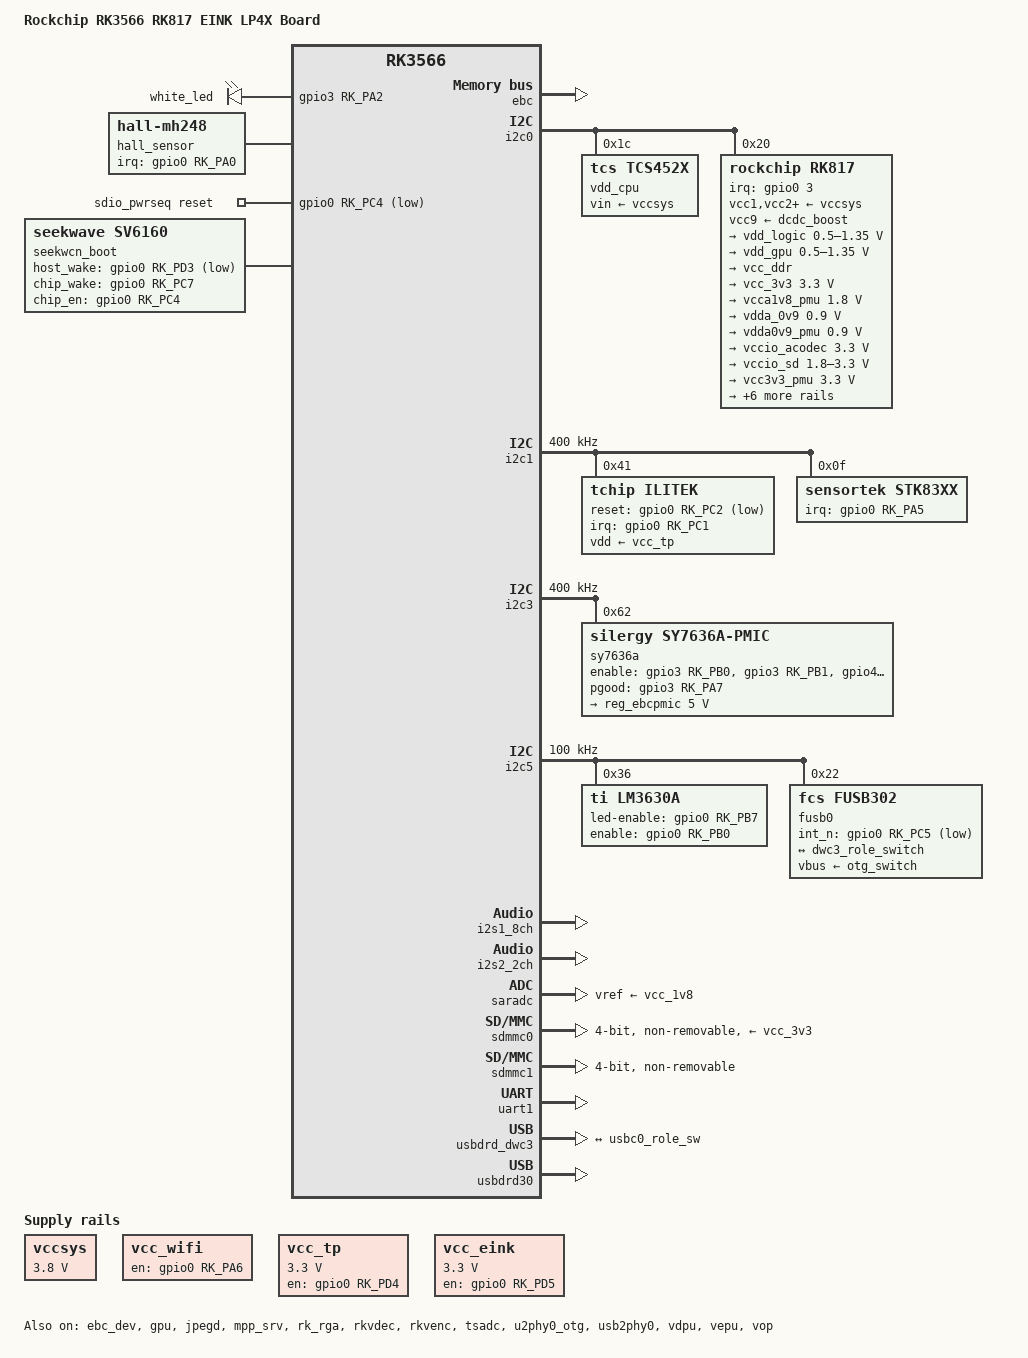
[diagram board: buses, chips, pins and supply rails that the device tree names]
// SPDX-License-Identifier: (GPL-2.0+ OR MIT)
/*
 * Copyright (c) 2020 Rockchip Electronics Co., Ltd.
 *
 */

/dts-v1/;

#include <dt-bindings/gpio/gpio.h>
#include <dt-bindings/pinctrl/rockchip.h>
#include <dt-bindings/input/rk-input.h>
#include <dt-bindings/sensor-dev.h>
#include <dt-bindings/display/drm_mipi_dsi.h>
#include "rk3566.dtsi"
#include "rk3568-linux.dtsi"
#include "rk3566-eink.dtsi"

/ {
	model = "Rockchip RK3566 RK817 EINK LP4X Board";
	compatible = "rockchip,rk3566-rk817-eink", "rockchip,rk3566";

	aliases {
		mmc0 = &sdmmc0;
		mmc1 = &sdmmc1;
		mmc2 = &sdhci;
	};

	charge-animation {
		compatible = "rockchip,uboot-charge";
		rockchip,uboot-charge-on = <1>;
		rockchip,android-charge-on = <0>;
		rockchip,uboot-low-power-voltage = <3350>;
		rockchip,screen-on-voltage = <3400>;
		rockchip,auto-wakeup-interval = <60>;
		status = "okay";
	};

	/* PB8020 has no side keys, and all four pins the 5084 used for them are
	 * reassigned on this board: PA5 -> gsensor irq, PD4 -> vcc_tp enable,
	 * PD5 -> vcc_eink enable, PD6 unused. Stock android keeps this
	 * node disabled too (single BACK key on PB5, also disabled). */
	gpio_keys: gpio-keys {
		status = "disabled";
		compatible = "gpio-keys";
		pinctrl-names = "default";
		pinctrl-0 = <&gpio_keys_gpio>;

		KEY_F1 {
			label = "GPIO Key F1";
			debounce-interval = <10>;
			interrupt-parent = <&gpio0>;
			interrupts = <RK_PA5 IRQ_TYPE_LEVEL_LOW>;
			linux,input-type = <EV_KEY>;
			linux,code = <KEY_F1>;
			gpios=<&gpio0 RK_PA5 GPIO_ACTIVE_LOW>;
			wakeup-source;
		};

		HOME {
			label = "GPIO Key Home";
			debounce-interval = <10>;
			interrupt-parent = <&gpio0>;
			interrupts = <RK_PD4 IRQ_TYPE_LEVEL_LOW>;
			linux,input-type = <EV_KEY>;
			linux,code = <KEY_HOME>;
			gpios=<&gpio0 RK_PD4 GPIO_ACTIVE_LOW>;
			wakeup-source;
		};
	
		UP {
			label = "GPIO Key Up";
			debounce-interval = <10>;
			interrupt-parent = <&gpio0>;
			interrupts = <RK_PD5 IRQ_TYPE_LEVEL_LOW>;
			linux,input-type = <EV_KEY>;
			linux,code = <KEY_UP>;
			gpios=<&gpio0 RK_PD5 GPIO_ACTIVE_LOW>;
			wakeup-source;
		};
	
		DOWN {
			label = "GPIO Key Down";
			debounce-interval = <10>;
			interrupt-parent = <&gpio0>;
			interrupts = <RK_PD6 IRQ_TYPE_LEVEL_LOW>;
			linux,input-type = <EV_KEY>;
			linux,code = <KEY_DOWN>;
			gpios=<&gpio0 RK_PD6 GPIO_ACTIVE_LOW>;
			wakeup-source;
		};

	};

	hdmi_sound: hdmi-sound {
		compatible = "simple-audio-card";
		simple-audio-card,format = "i2s";
		simple-audio-card,mclk-fs = <128>;
		simple-audio-card,name = "rockchip,hdmi";
		status = "disabled";

		simple-audio-card,cpu {
				sound-dai = <&i2s0_8ch>;
		};
		simple-audio-card,codec {
				sound-dai = <&hdmi>;
		};
	};

	leds: gpio-leds {
		status = "okay";
		compatible = "gpio-leds";
		pinctrl-names = "default";
		pinctrl-0 =<&leds_gpio>;

		led@1 {
			gpios = <&gpio3 RK_PA2 GPIO_ACTIVE_HIGH>;
			label = "white_led";
			default-state = "on";
			retain-state-suspended;
		};
	};

	hall_sensor: hall-mh248 {
		compatible = "hall-mh248";
		pinctrl-names = "default";
		pinctrl-0 = <&mh248_irq_gpio>;
		irq-gpio = <&gpio0 RK_PA0 IRQ_TYPE_EDGE_BOTH>;
		hall-active = <1>;
		status = "okay";
	};

	hwver: hwver {
		io-channels = <&saradc 1>;
		io-channel-names = "hwver";
		/* rockchip,version-map = <version min_raw max_raw>, ...; */
		rockchip,version-map = <10 0 100>, <13 260 360>;
		rockchip,default-version = <0>;
		rockchip,sample-count = <5>;
	};

	vccsys: vccsys {
		compatible = "regulator-fixed";
		regulator-name = "vcc3v8_sys";
		regulator-always-on;
		regulator-boot-on;
		regulator-min-microvolt = <3800000>;
		regulator-max-microvolt = <3800000>;
	};

	vcc_wifi: vcc-wifi {
	status = "okay";
        compatible = "regulator-fixed";
        enable-active-high;
        gpio = <&gpio0 RK_PA6 GPIO_ACTIVE_HIGH>;
        pinctrl-names = "default";
        pinctrl-0 = <&wifi_poweren_gpio>;
        regulator-name = "vcc_wifi";
        regulator-boot-on;
        regulator-always-on;
    };
	
	vcc_tp: vcc-tp-regulator {
		status = "okay";
		compatible = "regulator-fixed";
		enable-active-high;
		gpio = <&gpio0 RK_PD4 GPIO_ACTIVE_HIGH>;	/* factory: gpio0 PD4 */
		pinctrl-names = "default";
		pinctrl-0 = <&vcc_tp_en>;
		regulator-name = "vcc_tp";
		regulator-boot-on;
		startup-delay-us = <10000>;
		regulator-min-microvolt = <3300000>;
		regulator-max-microvolt = <3300000>;
	};

	vcc_eink: vcc-eink-regulator {
		status = "okay";
		compatible = "regulator-fixed";
		enable-active-high;
		gpio = <&gpio0 RK_PD5 GPIO_ACTIVE_HIGH>;	/* factory: gpio0 PD5 */
		pinctrl-names = "default";
		pinctrl-0 = <&vcc_eink_en>;
		regulator-name = "vcc_eink";
		regulator-boot-on;
		regulator-always-on;
		regulator-min-microvolt = <3300000>;
		regulator-max-microvolt = <3300000>;
	};

	rk817-sound {
		compatible = "simple-audio-card";
		simple-audio-card,format = "i2s";
		simple-audio-card,name = "rockchip,rk817-codec";
		simple-audio-card,mclk-fs = <256>;

		simple-audio-card,cpu {
			sound-dai = <&i2s1_8ch>;
		};
		simple-audio-card,codec {
			sound-dai = <&rk817_codec>;
		};
	};

	dummy_codec: dummy-codec { 
		status = "okay";
		compatible = "rockchip,dummy-codec";
		#sound-dai-cells = <0>;
	};

	bt-sound {
		status = "okay";
		compatible = "simple-audio-card";
		simple-audio-card,format = "dsp_b";
		simple-audio-card,bitclock-inversion = <1>;
		simple-audio-card,mclk-fs = <256>;
		simple-audio-card,name = "rockchip,bt";
		simple-audio-card,cpu {
				sound-dai = <&i2s2_2ch>;
		};
		simple-audio-card,codec {
				sound-dai = <&bt_sco>;
		};
	};

	bt_sco: bt-sco {
		compatible = "delta,dfbmcs320";
		#sound-dai-cells = <0>;
		status = "okay";
	};

	sdio_pwrseq: sdio-pwrseq {
		status = "okay";
		compatible = "mmc-pwrseq-simple";
		clocks = <&rk817 1>;
		clock-names = "ext_clock";
		pinctrl-names = "default";
		pinctrl-0 = <&wifi_enable_h>;

		/*
		 * On the module itself this is one of these (depending
		 * on the actual card populated):
		 * - SDIO_RESET_L_WL_REG_ON
		 * - PDN (power down when low)
		 */
		post-power-on-delay-ms = <10>;
		reset-gpios = <&gpio0 RK_PC4 GPIO_ACTIVE_LOW>;
	};
    seekwcn_boot: wireless-bluetooth {
        status = "okay";
	compatible = "seekwave,sv6160";
        pinctrl-names = "default";
        pinctrl-0 = <&wifi_bt_gpio>;
        dma_type = <1>;/*1:ADMA,2:SDMA*/
	seekwave_nv_name="sv6160.nvbin";

        gpio_host_wake = <&gpio0 RK_PD3 GPIO_ACTIVE_LOW>; /* CP2AP */
        gpio_chip_wake = <&gpio0 RK_PC7 GPIO_ACTIVE_HIGH>; /* AP2CP */
        gpio_chip_en = <&gpio0 RK_PC4 GPIO_ACTIVE_HIGH>; /* CHIP EN */
    };

};

/* U-Boot merges bootargs_ext into /chosen/bootargs. Pin USB audio to card 2 so
 * a device attached at boot cannot take the loopback's slot. */
&chosen {
	bootargs_ext = "snd_usb_audio.index=2";
};

&reserved_memory {
	logo_reserved: logo@10000000 {
		reg = <0x0 0x12900000 0x0 0x400000>;
	};

	linux,cma {
		compatible = "shared-dma-pool";
		inactive;
		reusable;
		reg = <0x0 0x20000000 0x0 0x08000000>;
		linux,cma-default;
	};
};

&ebc {
	/* clock rate 1000M/n, (n=1~32) */
	assigned-clocks = <&cru CPLL_333M>, <&cru DCLK_EBC>;
	assigned-clock-rates = <40000000>, <40000000>;	/* B082A0x needs panel,sdck = 40MHz */
	status = "okay";
};

&ebc_dev {
	compatible = "rockchip,ebc-linux";
	logo-region = <&logo_reserved>;
	pmic = <&sy7636a>;
	status = "okay";

	/* B082A02/A03 8.2" EPD, 1920x1440, landscape native */
	panel,width = <1920>;
	panel,height = <1440>;
	/* vir_width must be a multiple of 16: the waveform packs 16 pixels per
	 * 32-bit word, so the stride has to be 16-aligned. 1920 already is. */
	panel,vir_width = <1920>;
	panel,vir_height = <1440>;
	panel,sdck = <40000000>;
	panel,lsl = <15>;
	panel,lbl = <15>;
	panel,ldl = <240>;
	panel,lel = <54>;
	panel,gdck-sta = <48>;
	panel,lgonl = <252>;
	panel,fsl = <1>;
	panel,fbl = <4>;
	panel,fdl = <1440>;
	panel,fel = <10>;
	panel,mirror = <0>;
	panel,panel_16bit = <1>;
	panel,panel_color = <0>;
	panel,width-mm = <166>;
	panel,height-mm = <124>;
	panel,soc_start_y = <0>;
	panel,soc_icon_w = <0>;
	panel,soc_icon_h = <0>;
};

&cpu0 {
	cpu-supply = <&vdd_cpu>;
};

&csi2_dphy_hw {
	status = "disabled";
};

&csi2_dphy0 {
	status = "disabled";

	ports {
		#address-cells = <1>;
		#size-cells = <0>;
		port@0 {
			reg = <0>;
			#address-cells = <1>;
			#size-cells = <0>;

			mipi_in_ucam0: endpoint@0 {
				reg = <0>;
				data-lanes = <1 2>;
			};
		};
		port@1 {
			reg = <1>;
			#address-cells = <1>;
			#size-cells = <0>;

			csidphy0_out: endpoint@0 {
				reg = <0>;
				remote-endpoint = <&isp0_in>;
			};
		};
	};
};

&gpu {
	mali-supply = <&vdd_gpu>;
	status = "okay";
};

&hdmi {
	status = "disabled";
};

&hdmi_in_vp0 {
	status = "disabled";
};

&hdmi_in_vp1 {
	status = "disabled";
};

&hdmi_sound {
	status = "disabled";
};

&thermal_zones {
    ebcpmic_thermal: ebcpmic-thermal { 
        polling-delay = <0>;
        polling-delay-passive = <0>;
        thermal-sensors = <&sy7636a>;

        trips {
            sy7636a_dummy_trip: sy7636a-dummy-trip {
                temperature = <100000>;
                hysteresis = <0>;
                type = "hot";
            };
        };
    };
};

&i2c0 {
	status = "okay";

	vdd_cpu: tcs4525@1c {
		status = "okay";
		compatible = "tcs,tcs452x";
		reg = <0x1c>;
		vin-supply = <&vccsys>;
		regulator-compatible = "fan53555-reg";
		regulator-name = "vdd_cpu";
		regulator-min-microvolt = <712500>;
		regulator-max-microvolt = <1390000>;
		regulator-init-microvolt = <900000>;
		regulator-ramp-delay = <2300>;
		fcs,suspend-voltage-selector = <0>;
		regulator-initial-mode = <0x2>;
		regulator-boot-on;
		regulator-always-on;
		regulator-state-mem {
			regulator-on-in-suspend;
			regulator-suspend-microvolt = <1100000>;
			regulator-changeable-in-suspend;
		};
	};

	rk817: pmic@20 {
		compatible = "rockchip,rk817";
		reg = <0x20>;
		interrupt-parent = <&gpio0>;
		interrupts = <3 IRQ_TYPE_LEVEL_LOW>;

		pinctrl-names = "default";
		pinctrl-0 = <&pmic_int>;
		rockchip,system-power-controller;
		wakeup-source;
		#clock-cells = <1>;
		clock-output-names = "rk808-clkout1", "rk808-clkout2";
		/* 1: rst regs (default in codes), 0: rst the pmic */
		pmic-reset-func = <0>;
		/* not save the PMIC_POWER_EN register in uboot */
		not-save-power-en = <1>;
		long-press-off-time-sec = <10>;
		long-press-restart = <0>;
		vcc1-supply = <&vccsys>;
		vcc2-supply = <&vccsys>;
		vcc3-supply = <&vccsys>;
		vcc4-supply = <&vccsys>;
		vcc5-supply = <&vccsys>;
		vcc6-supply = <&vccsys>;
		vcc7-supply = <&vccsys>;
		vcc8-supply = <&vccsys>;
		vcc9-supply = <&dcdc_boost>;

		pwrkey {
			status = "okay";
		};

		pinctrl_rk8xx: pinctrl_rk8xx {
			gpio-controller;
			#gpio-cells = <2>;

			rk817_slppin_null: rk817_slppin_null {
				pins = "gpio_slp";
				function = "pin_fun0";
			};

			rk817_slppin_slp: rk817_slppin_slp {
				pins = "gpio_slp";
				function = "pin_fun1";
			};

			rk817_slppin_pwrdn: rk817_slppin_pwrdn {
				pins = "gpio_slp";
				function = "pin_fun2";
			};

			rk817_slppin_rst: rk817_slppin_rst {
				pins = "gpio_slp";
				function = "pin_fun3";
			};
		};

		regulators {
			vdd_logic: DCDC_REG1 {
				regulator-always-on;
				regulator-boot-on;
				regulator-min-microvolt = <500000>;
				regulator-max-microvolt = <1350000>;
				regulator-init-microvolt = <900000>;
				regulator-ramp-delay = <6001>;
				regulator-initial-mode = <0x2>;
				regulator-name = "vdd_logic";
				regulator-state-mem {
					regulator-off-in-suspend;
					regulator-suspend-microvolt = <900000>;
					regulator-changeable-in-suspend;
				};
			};

			vdd_gpu: DCDC_REG2 {
				regulator-always-on;
				regulator-boot-on;
				regulator-min-microvolt = <500000>;
				regulator-max-microvolt = <1350000>;
				regulator-init-microvolt = <900000>;
				regulator-ramp-delay = <6001>;
				regulator-initial-mode = <0x2>;
				regulator-name = "vdd_gpu";
					regulator-state-mem {
					regulator-off-in-suspend;
					regulator-changeable-in-suspend;
				};
			};

			vcc_ddr: DCDC_REG3 {
				regulator-always-on;
				regulator-boot-on;
				regulator-initial-mode = <0x2>;
				regulator-name = "vcc_ddr";
				regulator-state-mem {
					regulator-on-in-suspend;
				};
			};

			vcc_3v3: DCDC_REG4 {
				regulator-always-on;
				regulator-boot-on;
				regulator-min-microvolt = <3300000>;
				regulator-max-microvolt = <3300000>;
				regulator-initial-mode = <0x2>;
				regulator-name = "vcc_3v3";
				regulator-state-mem {
					regulator-off-in-suspend;
					regulator-changeable-in-suspend;
				};
			};

			vcca1v8_pmu: LDO_REG1 {
				regulator-always-on;
				regulator-boot-on;
				regulator-min-microvolt = <1800000>;
				regulator-max-microvolt = <1800000>;
				regulator-name = "vcca1v8_pmu";
				regulator-state-mem {
					regulator-on-in-suspend;
					regulator-suspend-microvolt = <1800000>;
					regulator-changeable-in-suspend;
				};
			};

			vdda_0v9: LDO_REG2 {
				regulator-min-microvolt = <900000>;
				regulator-max-microvolt = <900000>;
				regulator-name = "vdda_0v9";
				regulator-state-mem {
					regulator-off-in-suspend;
					regulator-changeable-in-suspend;
				};
			};

			vdda0v9_pmu: LDO_REG3 {
				regulator-always-on;
				regulator-boot-on;
				regulator-min-microvolt = <900000>;
				regulator-max-microvolt = <900000>;
				regulator-name = "vdda0v9_pmu";
				regulator-state-mem {
					regulator-on-in-suspend;
					regulator-suspend-microvolt = <900000>;
					regulator-changeable-in-suspend;
				};
			};

			vccio_acodec: LDO_REG4 {
				regulator-always-on;
				regulator-boot-on;
				regulator-min-microvolt = <3300000>;
				regulator-max-microvolt = <3300000>;
				regulator-name = "vccio_acodec";
				regulator-state-mem {
					regulator-off-in-suspend;
					regulator-changeable-in-suspend;
				};
			};

			vccio_sd: LDO_REG5 {
				regulator-always-on;
				regulator-boot-on;
				regulator-min-microvolt = <1800000>;
				regulator-max-microvolt = <3300000>;
				regulator-name = "vccio_sd";
				regulator-state-mem {
					regulator-off-in-suspend;
					regulator-changeable-in-suspend;
				};
			};

			vcc3v3_pmu: LDO_REG6 {
				regulator-always-on;
				regulator-boot-on;
				regulator-min-microvolt = <3300000>;
				regulator-max-microvolt = <3300000>;
				regulator-name = "vcc3v3_pmu";
				regulator-state-mem {
					regulator-on-in-suspend;
					regulator-suspend-microvolt = <3000000>;
					regulator-changeable-in-suspend;
				};
			};

			vcc_1v8: LDO_REG7 {
				regulator-always-on;
				regulator-boot-on;
				regulator-min-microvolt = <1800000>;
				regulator-max-microvolt = <1800000>;
				regulator-name = "vcc_1v8";
				regulator-state-mem {
					regulator-off-in-suspend;
					regulator-changeable-in-suspend;
				};
			};

			vcc_1v8_dvp: LDO_REG8 {
                regulator-min-microvolt = <1800000>;
                regulator-max-microvolt = <1800000>;
                regulator-name = "vcc_1v8_dvp";
                regulator-state-mem {
					regulator-off-in-suspend;
                    regulator-changeable-in-suspend;
                    regulator-suspend-microvolt = <1800000>;
                };
            };

			sleep_sta_ctl: LDO_REG9 {
				regulator-name = "sleep_sta_ctl";
				regulator-state-mem {
					regulator-on-in-suspend;
					regulator-suspend-microvolt = <3300000>;
					regulator-changeable-in-suspend;
				};
			};

			dcdc_boost: BOOST {
				regulator-always-on;
				regulator-boot-on;
				regulator-min-microvolt = <4700000>;
				regulator-max-microvolt = <5400000>;
				regulator-name = "boost";
				regulator-state-mem {
					regulator-off-in-suspend;
					regulator-changeable-in-suspend;
				};
			};

			otg_switch: OTG_SWITCH {
				regulator-name = "otg_switch";
				regulator-state-mem {
					regulator-off-in-suspend;
					regulator-changeable-in-suspend;
				};
			};
		};

		vbus_typec: vbus-typec-regulator {
			compatible = "regulator-fixed";
			regulator-name = "vbus_typec";
			vin-supply = <&otg_switch>;
		};
		
		battery {
			status = "okay";
			compatible = "rk817,battery";
			/* PB8020 pack, from stock android dtb */
			ocv_table = <3400 3661 3689 3715 3741 3758 3772
				     	3785 3800 3818 3840 3869 3917 3959
				     	3997 4048 4096 4148 4202 4259 4328>;
			design_capacity = <2914>;
			design_qmax = <3205>;
			bat_res = <65>;
			sleep_enter_current = <150>;
			sleep_exit_current = <180>;
			sleep_filter_current = <100>;
			power_off_thresd = <3450>;
			zero_algorithm_vol = <3250>;
			max_soc_offset = <60>;
			monitor_sec = <5>;
			sample_res = <10>;
			virtual_power = <0>;
			low_power_sleep = <1>;

			/*Utility  battery ntc -30 ~ 99 */
			ntc_degree_from = <1 11>;
			ntc_degree_protect_low = <0 0>;
			ntc_degree_protect_high = <45>;
			ntc_table = <44506 42506 40600 38791 37073 35442
						33892 32420 31020 29689 28423 27219
						26076 24988 23951 22963 22021 21123
						20267 19450 18670 17926 17214 16534
						15886 15266 14674 14108 13566 13049
						12554 12081 11628 11195 10780 10382
						10000 9634  9284  8947  8624  8315
						8018  7734  7461  7199  6948  6707
						6475  6253  6039  5834  5636  5445
						5262  5086  4917  4754  4597  4446
						4301  4161  4026  3896  3771  3651
						3535  3423  3315  3211  3111  3014
						2922  2834  2748  2666  2586  2509>;
				
		};

		charger {
			compatible = "rk817,charger";
			/* PB8020 charge profile, from stock android dtb. Android says
			 * max_chrg_voltage 4330, which the driver truncates to the
			 * 4300mV register step - written out as 4300 here. */
			min_input_voltage = <4300>;
			max_input_current = <3000>;
			max_chrg_current = <3000>;
			max_chrg_voltage = <4300>;
			chrg_term_mode = <0>;
			chrg_finish_cur = <200>;
			fb_temperature = <95>;
			virtual_power = <0>;
			dc_det_adc = <0>;
			extcon = <&usb2phy0>;
			gate_function_disable = <1>;

		};

		rk817_codec: codec {
			#sound-dai-cells = <0>;
			compatible = "rockchip,rk817-codec";
			clocks = <&cru I2S1_MCLKOUT>;
			clock-names = "mclk";
			assigned-clocks = <&cru I2S1_MCLKOUT>, <&cru I2S1_MCLK_TX_IOE>;
			assigned-clock-rates = <12288000>;
			assigned-clock-parents = <&cru I2S1_MCLKOUT_TX>, <&cru I2S1_MCLKOUT_TX>;
			pinctrl-names = "default";
			pinctrl-0 = <&i2s1m0_mclk>, <&hp_gpio>;
			hp-volume = <46>;
			spk-volume = <46>;
			spk-mute-delay-ms = <500>;
			out-l2spk-r2hp;
			hp-ctl-gpios = <&gpio3 RK_PC3 GPIO_ACTIVE_HIGH>;
			status = "okay";
		};
	};
};

&i2c1 {
	status = "okay";
    clock-frequency = <400000>;

	/* PB8020 uses an Ilitek ILI2501 controller with USI pen support,
	 * same driver and wiring as PB1030 (reset PC2, irq PC1). */
	ilitek@41 {
		status = "okay";
		compatible = "tchip,ilitek";
		reg = <0x41>;
		interrupt-parent = <&gpio0>;
		interrupts = <RK_PC1 IRQ_TYPE_LEVEL_LOW>;
		vdd-supply = <&vcc_tp>;
		pinctrl-names = "default";
		pinctrl-0 = <&tp_gpio>;
		ilitek,reset-gpio = <&gpio0 RK_PC2 GPIO_ACTIVE_LOW>;
		ilitek,irq-gpio = <&gpio0 RK_PC1 IRQ_TYPE_LEVEL_LOW>;
		ilitek,vbus = "vcc_i2c";
		ilitek,vdd = "vdd";
		ilitek,name = "ilitek_i2c";
		ilitek,lcm-resolution = <1920 1440>;
	};

	stk83xx: gsensor@f {
		status = "okay";
		compatible = "sensortek,stk83xx";
		reg = <0xf>;
		pinctrl-names = "default";
		pinctrl-0 = <&gsensor_irq_gpio>;
		stk83xx,irq-gpio = <&gpio0 RK_PA5 IRQ_TYPE_LEVEL_LOW>;
		irq_enable = <0>;
		poll_delay_ms = <33>;
		type = <SENSOR_TYPE_ACCEL>;
		power-off-in-suspend = <0>;
		/*
		 * layout is not read by the PB stk83xx driver (only the android
		 * gs_stk83xx one uses it) - it is kept for consistency with the
		 * other boards. Screen rotation is measured correct with no axis
		 * fixup here plus gyro placement 0 in hwlib; the only knobs this
		 * driver honours are stk83xx,revert-x / -y, which reflect a single
		 * axis (raw 1<->2, i.e. the two landscape orientations).
		 */
		layout = <6>;
		default_slope_threshold = <2>;	/* 1~255 */
     	};
};

&i2c2 {
	status = "disabled";
	pinctrl-names = "default";

    flashlight: aw36518@63 {
        status = "okay";
        compatible = "awinic,aw36518";
        label = "aw36518-flash";
        reg = <0x63>;
        led-max-microamp = <299200>;//torch模式最大电流
        flash-max-microamp = <1122000>;//flash模式最大电流
        flash-max-timeout-us = <1600000>;//falsh最大时间
        rockchip,camera-module-index = <0>;
        rockchip,camera-module-facing = "back";
    };
};

&i2c3 {
	status = "okay";
    clock-frequency = <400000>;
    pinctrl-names = "default";
    pinctrl-0 = <&i2c3m1_xfer>;

	sy7636a: sy7636a@62 {
 	        compatible = "silergy,sy7636a-pmic";
 	        reg = <0x62>;
 	        status = "okay";
			pinctrl-names = "default";
 	        pinctrl-0 = <&einkpmic_gpio>;
			/* Factory DTB: chipen=gpio3 PB0, pvddctrl=gpio3 PB1, vcomctl=gpio4 PB2; pgood=gpio3 PA7 */
			enable-gpios = <&gpio3 RK_PB0 GPIO_ACTIVE_HIGH>, <&gpio3 RK_PB1 GPIO_ACTIVE_HIGH>, <&gpio4 RK_PB2 GPIO_ACTIVE_HIGH>;
			pgood-gpios = <&gpio3 RK_PA7 GPIO_ACTIVE_HIGH>;
			thermal-zone = "ebcpmic-thermal";
 	        #thermal-sensor-cells = <0>;
			regulators {
 	            compatible = "sy7636a-regulator";
 	            reg_ebcpmic: vcom {
 	                regulator-name = "vcom";
 	                regulator-min-microvolt = <0>;
 	                regulator-max-microvolt = <5000000>;
 	                regulator-boot-on;
 	                regulator-state-mem {
 	                    regulator-off-in-suspend;
 	                };
 	            };
 	        };                                                                                                                               
			sy7636a_thermal: sy7636a_thermal {
 	            compatible = "sy7636a-thermal";
 	        };
	};

};

&i2c4 {
	status = "disabled";
	pinctrl-0 = <&i2c4m1_xfer>;
};

&i2c5 {
	status = "okay";
	pinctrl-names = "default";
	pinctrl-0 = <&i2c5m0_xfer>;
	clock-frequency = <100000>;

	lm3630a: lm3630a@36 {
		status = "okay";
		reg = <0x36>;
		compatible = "ti,lm3630a";
		pinctrl-names = "default";
		pinctrl-0 = <&lm3630a_gpio>;
		led-enable-gpio= <&gpio0 RK_PB7 GPIO_ACTIVE_HIGH>;
		enable-gpio = <&gpio0 RK_PB0 GPIO_ACTIVE_HIGH>;
		lm3630a-pwm = <&pwm15 0 25000 0>;
		/*	ch1 enable exp = 0x4, ch1 enable linear = 0x14, ch1+ch2 enable exp = 0x6, ch1+ch2 enable linear = 0x1e, ch1+ch2 controled by ch1 in exp mode = 0x5, ch1+ch2 controled by ch1 in linear mode = 0x15 */
		mode = <0x6>;
		/*	max current register setting. see lm3630a spec [ LED_I_OUT = 5 + 0.75 * max_i_chX (mA) ] (unsigned integer value) */
		max_i_ch1 = <20>;
		max_i_ch2 = <20>;
	};

	fusb0: fusb30x@22 {
		compatible = "fcs,fusb302";
		reg = <0x22>;
		pinctrl-names = "default";
		pinctrl-0 = <&fusb0_int>;
		fcs,int_n-gpios = <&gpio0 RK_PC5 GPIO_ACTIVE_LOW>;
		vbus-supply = <&otg_switch>;
		fusb302,role = "ROLE_MODE_DRP";
		fusb302,try_role = "ROLE_MODE_UFP";
		status = "okay";

		ports {
			#address-cells = <1>;
			#size-cells = <0>;

			port@0 {
				reg = <0>;
				usbc0_role_sw: endpoint@0 {
					remote-endpoint = <&dwc3_role_switch>;
				};
			};
		};
	};

};

&spi1{
	status = "disabled";
	pinctrl-0 = <&spi1m1_cs0 &spi1m1_pins>;
	pinctrl-1 = <&spi1m1_cs0 &spi1m1_pins_hs>;
	finger_fp@0{
		compatible = "finger,fpsensor";
		reg = <0x00>;
		spi-max-frequency = <6000000>;
		pinctrl-names = "default";
		pinctrl-0 = <&finger_gpio>;
		irq-gpio = <&gpio0 RK_PB4 IRQ_TYPE_LEVEL_LOW>;
		reset-gpio = <&gpio3 RK_PC0 GPIO_ACTIVE_HIGH>;
		status = "disabled";
	};
};

&i2s0_8ch {
	status = "disabled";
};

&i2s1_8ch {
	status = "okay";
	rockchip,clk-trcm = <1>;
	pinctrl-names = "default";
	pinctrl-0 = <&i2s1m0_sclktx
		     &i2s1m0_lrcktx
		     &i2s1m0_sdi0
		     &i2s1m0_sdo0>;
};

&i2s2_2ch {
	status = "okay";
};

&i2s3_2ch {
	status = "disabled";
	#sound-dai-cells = <0>;
	pinctrl-names = "default";
	pinctrl-0 = <&i2s3m1_sclk
		&i2s3m1_lrck
		&i2s3m1_sdi>;
};

&jpegd {
	status = "okay";
};

&jpegd_mmu {
	status = "okay";
};

&video_phy0 {
	status = "disabled";
};

&mpp_srv {
	status = "okay";
};

&nandc0 {
	status = "disabled";
};

&pinctrl {
	finger {
		finger_gpio: finger-gpio {
			rockchip,pins =
					<0 RK_PB4 RK_FUNC_GPIO &pcfg_pull_up>,
					<3 RK_PC0 RK_FUNC_GPIO &pcfg_pull_up>;
		};
	};

	touchscreen {
	        tp_gpio: tp-gpio {
	            rockchip,pins =
                <0 RK_PC2 RK_FUNC_GPIO &pcfg_pull_none>,
                <0 RK_PC1 RK_FUNC_GPIO &pcfg_pull_none>;
	        };
		vcc_tp_en: vcc-tp-en {
			 rockchip,pins = <0 RK_PD4 RK_FUNC_GPIO &pcfg_pull_none>;
		};
	};

	usbtypec {
		fusb0_int: fusb0-int {
			rockchip,pins =
				<0 RK_PC5 RK_FUNC_GPIO &pcfg_pull_up>;
		};
		vcc5v0_typec0_en: vcc5v0-typec0-en { /* 配置 FUSB302 驱动的 VBUS
			gpio pinctrl */
			rockchip,pins =
				<0 RK_PA4 RK_FUNC_GPIO &pcfg_pull_none>;
		};
	};

	speaker {
		hp_gpio: hp-gpio {
			rockchip,pins =
					<3 RK_PC3 RK_FUNC_GPIO &pcfg_pull_up>;
		};
	};

	pmic {
		pmic_int: pmic_int {
			rockchip,pins =
				<0 RK_PA3 RK_FUNC_GPIO &pcfg_pull_up>;
		};

		soc_slppin_gpio: soc_slppin_gpio {
			rockchip,pins =
				<0 RK_PA2 RK_FUNC_GPIO &pcfg_output_low_pull_down>;
		};

		soc_slppin_slp: soc_slppin_slp {
			rockchip,pins =
				<0 RK_PA2 1 &pcfg_pull_up>;
		};

		soc_slppin_rst: soc_slppin_rst {
			rockchip,pins =
				<0 RK_PA2 2 &pcfg_pull_none>;
		};
	};

	sdio-pwrseq {
		wifi_enable_h: wifi-enable-h {
			rockchip,pins = <0 RK_PC4 RK_FUNC_GPIO &pcfg_pull_none>;
		};
	};

	seekwcn_boot {
		wifi_bt_gpio: wifi-bt-gpio {
			rockchip,pins = 
			<0 RK_PC7 RK_FUNC_GPIO &pcfg_pull_none>,
			<0 RK_PC6 RK_FUNC_GPIO &pcfg_pull_none>;
		};
		wifi_poweren_gpio:wifi-poweren-gpio {
			rockchip,pins = 
			<0 RK_PD3 RK_FUNC_GPIO &pcfg_pull_none>;
		};
	};
	
	leds {
		leds_gpio: leds-gpio {
			rockchip,pins =
				<3 RK_PA1 RK_FUNC_GPIO &pcfg_pull_none>,
				<3 RK_PA2 RK_FUNC_GPIO &pcfg_pull_none>;
		};
		lm3630a_gpio:lm3630a-gpio {
			rockchip,pins =
				<0 RK_PB7 RK_FUNC_GPIO &pcfg_pull_none>,
				<0 RK_PB0 RK_FUNC_GPIO &pcfg_pull_none>;
		};
	};

	keys {
		gpio_keys_gpio: gpio-keys-gpio{          
			rockchip,pins = 
					<0 RK_PA5 RK_FUNC_GPIO &pcfg_pull_up>,
					<0 RK_PD4 RK_FUNC_GPIO &pcfg_pull_up>,
					<0 RK_PD5 RK_FUNC_GPIO &pcfg_pull_up>,
					<0 RK_PD6 RK_FUNC_GPIO &pcfg_pull_up>;
	 	};
	};
    sensors {
        mh248_irq_gpio: mh248-irq-gpio {
			rockchip,pins = <0 RK_PA0 RK_FUNC_GPIO &pcfg_pull_up>;
		};

        gsensor_irq_gpio: gsensor-irq-gpio {
            rockchip,pins = <0 RK_PA5 RK_FUNC_GPIO &pcfg_pull_up>;
        };
    };

	eink_pmic {
        einkpmic_gpio: einkpmic-gpio {
            rockchip,pins =
                <3 RK_PB0 RK_FUNC_GPIO &pcfg_pull_none>,   /* chipen */
                <3 RK_PB1 RK_FUNC_GPIO &pcfg_pull_none>,   /* pvddctrl */
                <4 RK_PB2 RK_FUNC_GPIO &pcfg_pull_none>,   /* vcomctl */
                <3 RK_PA7 RK_FUNC_GPIO &pcfg_pull_none>;   /* pwrgood */
        };
    };

    vcc-eink {
        vcc_eink_en: vcc-eink-en {
            rockchip,pins = <0 RK_PD5 RK_FUNC_GPIO &pcfg_pull_none>;   /* factory: vcc_eink enable */
        };
    };
};

&pmu_io_domains {
	status = "okay";
	pmuio1-supply = <&vcc3v3_pmu>;
	pmuio2-supply = <&vcc3v3_pmu>;
	vccio1-supply = <&vccio_acodec>;
	vccio2-supply = <&vcca1v8_pmu>;
	vccio3-supply = <&vccio_sd>;
	vccio4-supply = <&vcca1v8_pmu>;
	vccio5-supply = <&vcc_3v3>;
	vccio6-supply = <&vcc_eink>;	/* factory: dedicated vcc_eink rail (gpio0 PC0) */
	vccio7-supply = <&vcc_1v8_dvp>;
};

&pwm12 {
	pinctrl-names = "default";
	pinctrl-0 = <&pwm12m1_pins>;
	status = "disabled";
};

&pwm15 {
	pinctrl-names = "default";
	pinctrl-0 = <&pwm15m0_pins>;
	status = "disabled";
};

&rk_rga {
	status = "okay";
};

&rkisp {
	status = "disabled";
};

&rkisp_mmu {
	status = "disabled";
};

&rkisp_vir0 {
	status = "disabled";

	port {
		#address-cells = <1>;
		#size-cells = <0>;

		isp0_in: endpoint@0 {
			reg = <0>;
			remote-endpoint = <&csidphy0_out>;
		};
	};
};

&rkvdec {
	status = "okay";
};

&rkvdec_mmu {
	status = "okay";
};

&rkvenc {
	status = "okay";
};

&rkvenc_mmu {
	status = "okay";
};

&rockchip_suspend {
	status = "okay";

	rockchip,regulator-off-in-mem-lite =
		<&vdd_cpu>, <&vdd_logic>, <&vdd_gpu>, <&vcc_3v3>, <&vdda_0v9>, <&vcc_1v8>, <&vcc_1v8_dvp>,
		<&vccio_acodec>, <&vccio_sd>,  <&dcdc_boost>, <&otg_switch>,
		<&sleep_sta_ctl>;
	rockchip,regulator-on-in-mem-lite =
		<&vcc_ddr>, <&vdda0v9_pmu>, <&vcca1v8_pmu>, <&vcc3v3_pmu>;

	rockchip,regulator-off-in-mem =
		<&vdd_cpu>, <&vdd_logic>, <&vdd_gpu>, <&vcc_3v3>, <&vdda_0v9>, <&vcc_1v8>, <&vcc_1v8_dvp>,
		<&vccio_acodec>, <&vccio_sd>, <&dcdc_boost>, <&otg_switch>,
		<&sleep_sta_ctl>;
	rockchip,regulator-on-in-mem =
		<&vcc_ddr>, <&vdda0v9_pmu>, <&vcca1v8_pmu>, <&vcc3v3_pmu>;

	rockchip,regulator-off-in-mem-ultra =
		<&vdd_logic>, <&vdd_gpu>, <&vcc_ddr>, <&vcc_3v3>, <&vdda_0v9>, <&vcc_1v8>, <&vcc_1v8_dvp>,
		<&vdda0v9_pmu>, <&vcca1v8_pmu>, <&vcc3v3_pmu>, <&vccio_acodec>, <&vccio_sd>,
		<&dcdc_boost>, <&otg_switch>;
	rockchip,regulator-on-in-mem-ultra = <&vdd_cpu>, <&sleep_sta_ctl>;
};

&saradc {
	status = "okay";
	vref-supply = <&vcc_1v8>;
};

&sdhci {
	bus-width = <8>;
	supports-emmc;
	non-removable;
	keep-power-in-suspend;
	max-frequency = <200000000>;
	status = "disabled";
};

&sdmmc0 {
	max-frequency = <150000000>;
	no-sdio;
	no-mmc;
	non-removable;
	keep-power-in-suspend;
	bus-width = <4>;
	cap-sd-highspeed;
	disable-wp;
	vmmc-supply = <&vcc_3v3>;
	vqmmc-supply = <&vccio_sd>;
	pinctrl-names = "default";
	pinctrl-0 = <&sdmmc0_bus4 &sdmmc0_clk &sdmmc0_cmd &sdmmc0_det>;
	status = "okay";
};

&sdmmc1 {
	max-frequency = <150000000>;
	supports-sdio;
	bus-width = <4>;
	disable-wp;
	cap-sd-highspeed;
	cap-sdio-irq;
	keep-power-in-suspend;
	mmc-pwrseq = <&sdio_pwrseq>;
	non-removable;
	pinctrl-names = "default";
	pinctrl-0 = <&sdmmc1_bus4 &sdmmc1_cmd &sdmmc1_clk>;
	sd-uhs-sdr104;
	rockchip,default-sample-phase = <90>;
	status = "okay";
};

&tsadc {
	status = "okay";
};

&uart1 {
	status = "okay";
	pinctrl-names = "default";
	pinctrl-0 = <&uart1m0_xfer &uart1m0_ctsn>;
};

&u2phy0_otg {
	rockchip,dis-u2-susphy;
	status = "okay";
};

&usb2phy0 {
	status = "okay";
};

&usbdrd_dwc3 {
	status = "okay";
	usb-role-switch; /* 用于使能 DWC3 驱动注册 USB Role Switch 回调函数 */
	port {
		#address-cells = <1>;
		#size-cells = <0>;
		dwc3_role_switch: endpoint@0 {
			reg = <0>;
			remote-endpoint = <&usbc0_role_sw>; /* 关联 FUSB302，实现
			USB 角色切换的功能 */
		};
	};
};

&usbdrd30 {
	status = "okay";
};

&xin32k {
	/delete-property/ pinctrl-names;
	/delete-property/ pinctrl-0;
};

&vdpu {
	status = "okay";
};

&vdpu_mmu {
	status = "okay";
};

&vepu {
	status = "okay";
};

&vepu_mmu {
	status = "okay";
};

&vop {
	status = "okay";
};

&vop_mmu {
	status = "okay";
};
